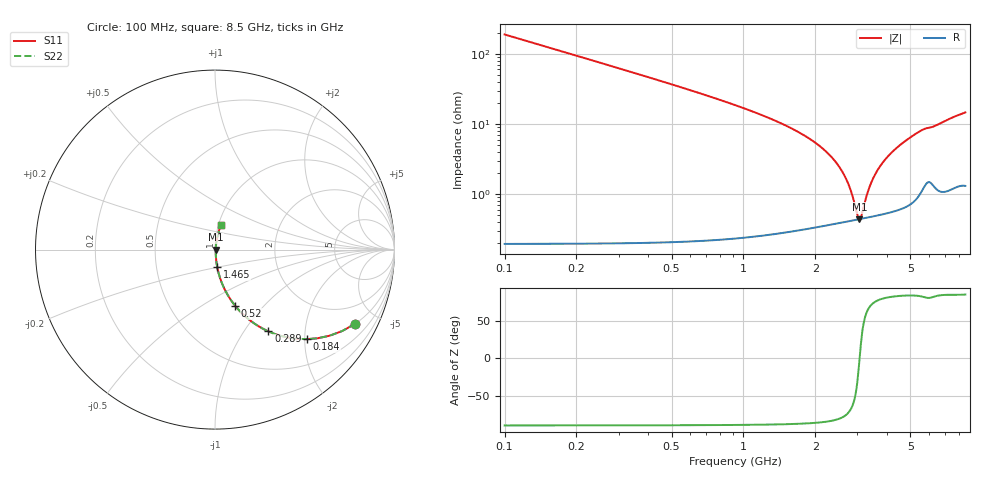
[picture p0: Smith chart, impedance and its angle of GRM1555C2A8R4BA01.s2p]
!Murata Part Number: GRM1555C2A8R4BA01
!These Parameters are Measured in Series Mode Connection
!Data Generated on Mar 30, 2021
!  o--ll--o
!Port1  Port2
!  o------o
!Operation Temp=25[degC], DC Bias Voltage=0[V]
!Freq. Start=100[MHz] Stop=9[GHz] 401[Steps]
# Hz S RI R 50
!Freq.(Hz) S11(Real) S11(Imag) S21(Real) S21(Imag) S12(Real) S12(Imag) S22(Real) S22(Imag)
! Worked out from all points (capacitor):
!   401 points, 100 MHz to 8.5 GHz, reference 50 ohm
!   read as one part in series: C = 8.4 pF near 142 MHz
!   lowest |Z| = 441 mohm at 3.061 GHz (marker M1)
!   series resonance near 3.065 GHz, so ESL is about 320 pH
!   S11 on the Smith chart (normalised r, x): 100 MHz: 1.00, -3.79; 184 MHz: 1.00, -2.05; 289 MHz: 1.00, -1.30; 520 MHz: 1.00, -0.71; 1.465 GHz: 1.01, -0.20; 8.5 GHz: 1.03, +0.29
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1e8  0.7815 -0.4127  0.2185 0.4127  0.2185 0.4127  0.7815 -0.4127
1.84e8  0.5128 -0.4989  0.4872 0.4989  0.4872 0.4989  0.5128 -0.4989
2.89e8  0.2973 -0.4556  0.7027 0.4556  0.7027 0.4556  0.2973 -0.4556
3.94e8  0.1837 -0.3851  0.8163 0.3851  0.8163 0.3851  0.1837 -0.3851
5.2e8  0.1126 -0.3132  0.8874 0.3132  0.8874 0.3132  0.1126 -0.3132
8.98e8  0.0378 -0.1848  0.9622 0.1848  0.9622 0.1848  0.0378 -0.1848
1.465e9  0.0125 -0.0979  0.9875 0.0979  0.9875 0.0979  0.0125 -0.0979
1.507e9  0.0117 -0.0936  0.9883 0.0936  0.9883 0.0936  0.0117 -0.0936
2.074e9  0.00581 -0.0488  0.9942 0.0488  0.9942 0.0488  0.00581 -0.0488
2.452e9  0.00455 -0.0274  0.9955 0.0274  0.9955 0.0274  0.00455 -0.0274
2.725e9  0.00427 -0.0144  0.9957 0.0144  0.9957 0.0144  0.00427 -0.0144
2.914e9  0.00428 -0.00617  0.9957 0.00617  0.9957 0.00617  0.00428 -0.00617
2.998e9  0.00433 -0.00271  0.9957 0.00271  0.9957 0.00271  0.00433 -0.00271
3.061e9  0.00439 -0.000172  0.9956 0.000172  0.9956 0.000172  0.00439 -0.000172
3.124e9  0.00445 0.00231  0.9955 -0.00231  0.9955 -0.00231  0.00445 0.00231
3.355e9  0.00479 0.011  0.9952 -0.011  0.9952 -0.011  0.00479 0.011
3.544e9  0.00517 0.0178  0.9948 -0.0178  0.9948 -0.0178  0.00517 0.0178
3.859e9  0.00598 0.0284  0.994 -0.0284  0.994 -0.0284  0.00598 0.0284
4.3e9  0.00749 0.0423  0.9925 -0.0423  0.9925 -0.0423  0.00749 0.0423
5.707e9  0.0192 0.0812  0.9808 -0.0812  0.9808 -0.0812  0.0192 0.0812
7.114e9  0.0232 0.1099  0.9768 -0.1099  0.9768 -0.1099  0.0232 0.1099
8.5e9  0.033 0.1393  0.967 -0.1393  0.967 -0.1393  0.033 0.1393
